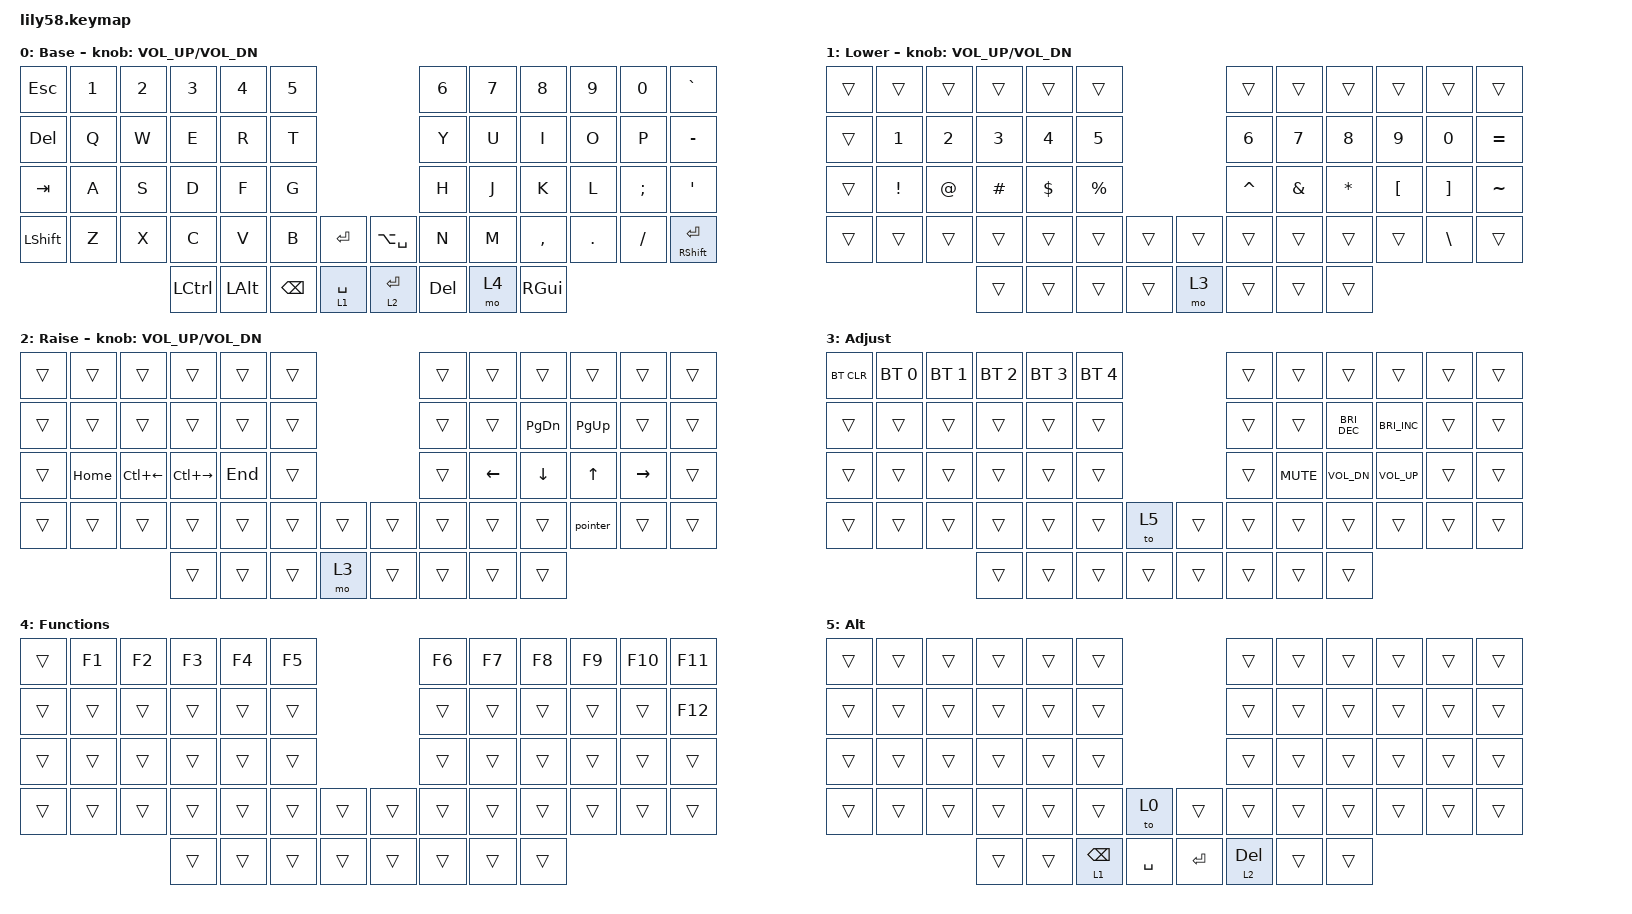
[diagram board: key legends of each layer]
/*
 * Copyright (c) 2020 The ZMK Contributors
 *
 * SPDX-License-Identifier: MIT
 */

#include <behaviors.dtsi>
#include <dt-bindings/zmk/bt.h>
#include <dt-bindings/zmk/keys.h>

/ {
    macros {
        pointer: pointer {
            compatible = "zmk,behavior-macro";
            #binding-cells = <0>;
            bindings = <&kp MINUS &kp GREATER_THAN>;
            label = "POINTER";
        };
    };

    keymap {
        compatible = "zmk,keymap";

        default_layer {
            // ------------------------------------------------------------------------------------------------------------
            // |  ESC  |  1  |  2  |  3   |  4   |  5   |                   |  6   |  7    |  8    |  9   |   0   |   `   |
            // |  TAB  |  Q  |  W  |  E   |  R   |  T   |                   |  Y   |  U    |  I    |  O   |   P   |   -   |
            // |  CTRL |  A  |  S  |  D   |  F   |  G   |                   |  H   |  J    |  K    |  L   |   ;   |   '   |
            // | SHIFT |  Z  |  X  |  C   |  V   |  B   |   "["  |  |  "]"  |  N   |  M    |  ,    |  .   |   /   | SHIFT |
            //                     | ALT  | GUI  | LOWER|  SPACE |  | ENTER | RAISE| BSPC  | GUI   |

            display-name = "Base";
            bindings = <
&kp ESC     &kp N1  &kp N2  &kp N3     &kp N4        &kp N5                                       &kp N6   &kp N7  &kp N8     &kp N9   &kp N0    &kp GRAVE
&kp DELETE  &kp Q   &kp W   &kp E      &kp R         &kp T                                        &kp Y    &kp U   &kp I      &kp O    &kp P     &kp MINUS
&kp TAB     &kp A   &kp S   &kp D      &kp F         &kp G                                        &kp H    &kp J   &kp K      &kp L    &kp SEMI  &kp SQT
&kp LSHFT   &kp Z   &kp X   &kp C      &kp V         &kp B          &kp RET        &kp LA(SPACE)  &kp N    &kp M   &kp COMMA  &kp DOT  &kp FSLH  &mt RSHFT RETURN
                            &kp LCTRL  &kp LEFT_ALT  &kp BACKSPACE  &lt 1 SPACE    &lt 2 RET      &kp DEL  &mo 4   &kp RGUI
            >;

            sensor-bindings = <&inc_dec_kp C_VOL_UP C_VOL_DN>;
        };

        lower_layer {
            // ------------------------------------------------------------------------------------------------------------
            // | BTCLR | BT1 | BT2 |  BT3 |  BT4 |  BT5 |                   |      |       |       |      |       |       |
            // |  F1   |  F2 |  F3 |  F4  |  F5  |  F6  |                   |  F7  |  F8   |  F9   |  F10 |  F11  |  F12  |
            // |   `   |  !  |  @  |  #   |  $   |  %   |                   |  ^   |  &    |  *    |  (   |   )   |   ~   |
            // |       |     |     |      |      |      |        |  |       |      |  _    |  +    |  {   |   }   |  "|"  |
            //                     |      |      |      |        |  |       |      |       |       |

            display-name = "Lower";
            bindings = <
&trans  &trans    &trans  &trans     &trans    &trans                       &trans     &trans    &trans    &trans    &trans    &trans
&trans  &kp N1    &kp N2  &kp N3     &kp N4    &kp N5                       &kp N6     &kp N7    &kp N8    &kp N9    &kp N0    &kp EQUAL
&trans  &kp EXCL  &kp AT  &kp POUND  &kp DLLR  &kp PRCNT                    &kp CARET  &kp AMPS  &kp STAR  &kp LBKT  &kp RBKT  &kp TILDE
&trans  &trans    &trans  &trans     &trans    &trans     &trans    &trans  &trans     &trans    &trans    &trans    &kp BSLH  &trans
                          &trans     &trans    &trans     &trans    &mo 3   &trans     &trans    &trans
            >;

            sensor-bindings = <&inc_dec_kp C_VOL_UP C_VOL_DN>;
        };

        raise_layer {
            // ------------------------------------------------------------------------------------------------------------
            // |       |     |     |      |      |      |                   |      |       |       |      |       |       |
            // |   `   |  1  |  2  |  3   |  4   |  5   |                   |  6   |   7   |   8   |  9   |   0   |       |
            // |   F1  |  F2 |  F3 |  F4  |  F5  |  F6  |                   |      |   <-  |   v   |  ^   |  ->   |       |
            // |   F7  |  F8 |  F9 |  F10 |  F11 |  F12 |        |  |       |  +   |   -   |   =   |  [   |   ]   |   \   |
            //                     |      |      |      |        |  |       |      |       |       |

            display-name = "Raise";
            bindings = <
&trans  &trans    &trans        &trans         &trans   &trans                    &trans  &trans    &trans     &trans     &trans     &trans
&trans  &trans    &trans        &trans         &trans   &trans                    &trans  &trans    &kp PG_DN  &kp PG_UP  &trans     &trans
&trans  &kp HOME  &kp LC(LEFT)  &kp LC(RIGHT)  &kp END  &trans                    &trans  &kp LEFT  &kp DOWN   &kp UP     &kp RIGHT  &trans
&trans  &trans    &trans        &trans         &trans   &trans  &trans    &trans  &trans  &trans    &trans     &pointer   &trans     &trans
                                &trans         &trans   &trans  &mo 3     &trans  &trans  &trans    &trans
            >;

            sensor-bindings = <&inc_dec_kp C_VOL_UP C_VOL_DN>;
        };

        adjust_layer {
            bindings = <
&bt BT_CLR  &bt BT_SEL 0  &bt BT_SEL 1  &bt BT_SEL 2  &bt BT_SEL 3  &bt BT_SEL 4                    &trans  &trans      &trans                &trans                &trans  &trans
&trans      &trans        &trans        &trans        &trans        &trans                          &trans  &trans      &kp C_BRIGHTNESS_DEC  &kp C_BRIGHTNESS_INC  &trans  &trans
&trans      &trans        &trans        &trans        &trans        &trans                          &trans  &kp K_MUTE  &kp C_VOL_DN          &kp C_VOL_UP          &trans  &trans
&trans      &trans        &trans        &trans        &trans        &trans        &to 5     &trans  &trans  &trans      &trans                &trans                &trans  &trans
                                        &trans        &trans        &trans        &trans    &trans  &trans  &trans      &trans
            >;

            label = "Adjust";
        };

        fn_layer {
            bindings = <
&trans  &kp F1  &kp F2  &kp F3  &kp F4  &kp F5                    &kp F6  &kp F7  &kp F8  &kp F9  &kp F10  &kp F11
&trans  &trans  &trans  &trans  &trans  &trans                    &trans  &trans  &trans  &trans  &trans   &kp F12
&trans  &trans  &trans  &trans  &trans  &trans                    &trans  &trans  &trans  &trans  &trans   &trans
&trans  &trans  &trans  &trans  &trans  &trans  &trans    &trans  &trans  &trans  &trans  &trans  &trans   &trans
                        &trans  &trans  &trans  &trans    &trans  &trans  &trans  &trans
            >;

            label = "Functions";
        };

        alt_layer {
            bindings = <
&trans  &trans  &trans  &trans  &trans  &trans                                 &trans     &trans  &trans  &trans  &trans  &trans
&trans  &trans  &trans  &trans  &trans  &trans                                 &trans     &trans  &trans  &trans  &trans  &trans
&trans  &trans  &trans  &trans  &trans  &trans                                 &trans     &trans  &trans  &trans  &trans  &trans
&trans  &trans  &trans  &trans  &trans  &trans           &to 0        &trans   &trans     &trans  &trans  &trans  &trans  &trans
                        &trans  &trans  &lt 1 BACKSPACE  &kp SPACE    &kp RET  &lt 2 DEL  &trans  &trans
            >;

            label = "Alt";
        };
    };
};
